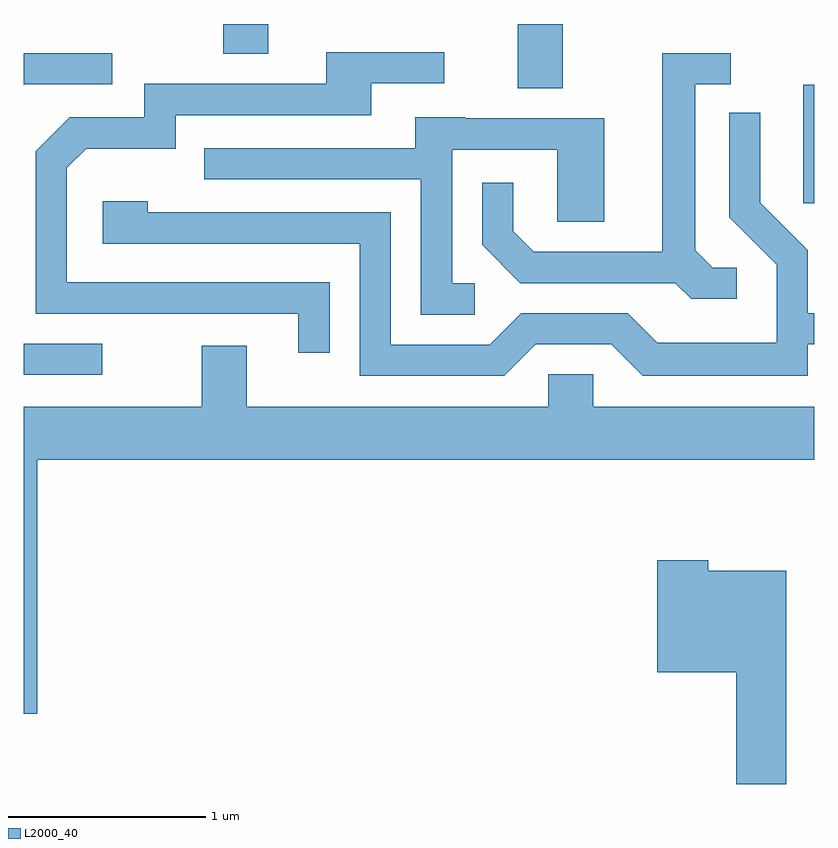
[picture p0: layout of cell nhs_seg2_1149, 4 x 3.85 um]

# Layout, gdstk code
import gdstk
lib = gdstk.Library(unit=1e-6, precision=1e-09)
def R(c, l, rs):  # rectangles x0, y0, x1, y1
    for r in rs: c.add(gdstk.rectangle(r[:2], r[2:], *l))
def P(c, l, *ps):  # polygons
    for p in ps: c.add(gdstk.Polygon(p, *l))
L2000_40 = (2000, 40)

nhs_seg2_1149 = lib.new_cell('nhs_seg2_1149')
R(nhs_seg2_1149, L2000_40, [(217.611,1102.026,218.008,1102.184), (221.556,1102.896,221.611,1103.494), (220.111,1103.476,220.339,1103.802), (218.621,1103.651,218.849,1103.802)])
P(nhs_seg2_1149, L2000_40, [(219.159,1102.494),(217.829,1102.494),(217.829,1103.074),(217.927,1103.171),(218.379,1103.171),(218.379,1103.341),(219.369,1103.341),(219.369,1103.501),(219.738,1103.501),(219.738,1103.659),(219.141,1103.659),(219.141,1103.499),(218.221,1103.499),(218.221,1103.329),(217.844,1103.329),(217.671,1103.157),(217.671,1102.336),(219.001,1102.336),(219.001,1102.138),(219.159,1102.138)],
  [(221.218,1102.569),(221.097,1102.569),(221.009,1102.657),(221.009,1103.496),(221.188,1103.496),(221.188,1103.654),(220.841,1103.654),(220.841,1102.649),(220.192,1102.649),(220.089,1102.752),(220.089,1102.998),(219.931,1102.998),(219.931,1102.684),(220.124,1102.491),(220.909,1102.491),(220.989,1102.411),(221.218,1102.411)],
  [(217.612,1103.496),(218.058,1103.496),(218.058,1103.654),(217.611,1103.654),(217.611,1103.495)],
  [(220.202,1102.181),(220.584,1102.181),(220.744,1102.021),(221.579,1102.021),(221.579,1102.181),(221.611,1102.181),(221.611,1102.339),(221.579,1102.339),(221.579,1102.657),(221.339,1102.897),(221.339,1103.353),(221.181,1103.353),(221.181,1102.824),(221.421,1102.584),(221.421,1102.189),(220.817,1102.189),(220.667,1102.339),(220.129,1102.339),(219.969,1102.179),(219.469,1102.179),(219.469,1102.849),(218.239,1102.849),(218.239,1102.904),(218.011,1102.904),(218.011,1102.691),(219.311,1102.691),(219.311,1102.021),(220.042,1102.021)],
  [(219.893,1102.489),(219.779,1102.489),(219.779,1103.166),(220.311,1103.166),(220.311,1102.801),(220.549,1102.801),(220.549,1103.324),(219.845,1103.324),(219.845,1103.329),(219.591,1103.329),(219.591,1103.174),(218.523,1103.174),(218.523,1103.016),(219.621,1103.016),(219.621,1102.331),(219.893,1102.331)],
  [(217.679,1101.596),(221.611,1101.596),(221.611,1101.864),(220.494,1101.864),(220.494,1102.029),(220.266,1102.029),(220.266,1101.864),(218.739,1101.864),(218.739,1102.174),(218.511,1102.174),(218.511,1101.864),(217.611,1101.864),(217.611,1100.311),(217.679,1100.311)],
  [(221.469,1101.034),(221.074,1101.034),(221.074,1101.089),(220.816,1101.089),(220.816,1100.521),(221.216,1100.521),(221.216,1099.956),(221.469,1099.956)])

lib.write_gds('nhs_seg2_1149.gds')
